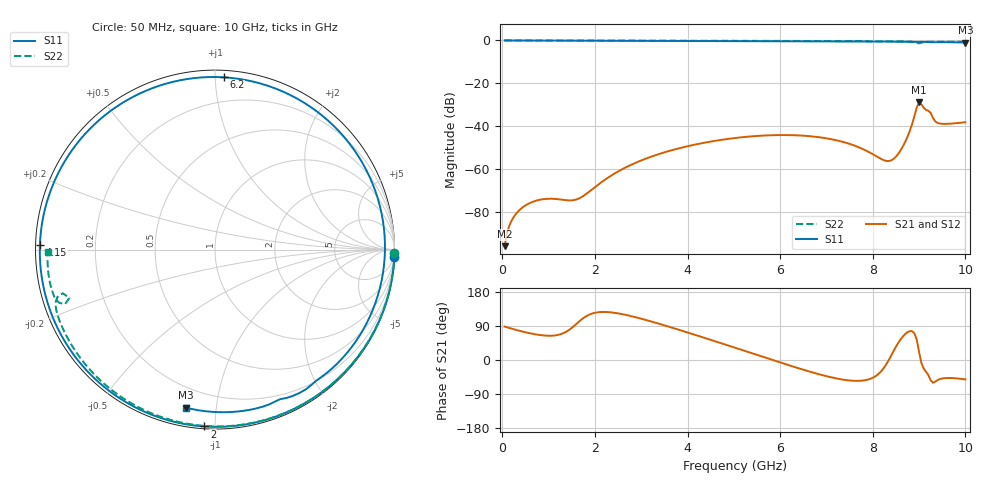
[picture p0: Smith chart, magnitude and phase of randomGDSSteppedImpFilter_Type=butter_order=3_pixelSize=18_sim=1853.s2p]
! freq	dB(S11)	phase(S11)	dB(S12)	phase(S12)
!  dB(S21)	phase(S21)	dB(S22)	phase(S22)
!S-par simulation data
#  GHz  S  DB  R 50
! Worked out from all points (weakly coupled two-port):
!   200 points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, 50 MHz to 10 GHz, reference 50 ohm
!   highest |S21| = -28.95 dB at 9 GHz (marker M1); lowest = -96.1 dB at 50 MHz (marker M2)
!   lowest |S11| = -1.0 dB at 10 GHz (marker M3), VSWR 18.20, Z = 4.65 - j41.5 ohm
!   |S11| at or under -10 dB: nowhere
!   |S22| runs from -1.4 to 0.0 dB; largest |S21 - S12| = 0
!   S11 on the Smith chart (normalised r, x): 50 MHz: 0, -46; 2 GHz: 0.01, -0.94; 4.15 GHz: 0.01, +0.01; 6.2 GHz: 0.04, +1.05; 10 GHz: 0.09, -0.83
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0.05  -0.00 -2.5  -96.14 88.2  -96.14 88.2  -0.00 -1.0
0.35  -0.01 -17.2  -79.72 77.7  -79.72 77.7  -0.01 -7.2
0.6  -0.03 -29.4  -75.93 70.5  -75.93 70.5  -0.01 -12.3
0.95  -0.06 -46.1  -74.04 64.2  -74.04 64.2  -0.02 -19.4
1.5  -0.09 -71.4  -74.72 84.7  -74.72 84.7  -0.04 -30.3
1.75  -0.10 -82.5  -72.68 110.5  -72.68 110.5  -0.04 -35.3
2  -0.11 -93.4  -68.56 124.6  -68.56 124.6  -0.05 -40.2
2.65  -0.14 -120.8  -59.50 119.5  -59.50 119.5  -0.07 -52.7
3.4  -0.17 -151.2  -52.97 95.1  -52.97 95.1  -0.09 -66.8
4.15  -0.21 178.6  -48.72 66.9  -48.72 66.9  -0.11 -80.4
5.05  -0.27 140.7  -45.54 31.4  -45.54 31.4  -0.15 -96.1
5.65  -0.31 113.5  -44.44 7.4  -44.44 7.4  -0.18 -106.3
6.2  -0.34 87.0  -44.23 -14.3  -44.23 -14.3  -0.21 -115.5
6.7  -0.38 61.7  -44.86 -32.8  -44.86 -32.8  -0.24 -123.8
7.55  -0.44 17.5  -48.70 -54.6  -48.70 -54.6  -0.31 -137.9
8.35  -0.54 -23.4  -56.33 0.9  -56.33 0.9  -0.39 -151.5
8.5  -0.56 -30.8  -54.34 35.0  -54.34 35.0  -0.41 -154.2
8.65  -0.59 -38.2  -49.53 62.1  -49.53 62.1  -0.44 -157.1
8.8  -0.64 -45.4  -42.25 76.2  -42.25 76.2  -0.52 -160.4
9  -0.67 -54.4  -28.95 21.2  -28.95 21.2  -1.37 -161.6
9.4  -0.77 -72.9  -38.55 -53.0  -38.55 -53.0  -0.56 -167.8
10  -0.96 -100.3  -38.21 -51.2  -38.21 -51.2  -0.60 -179.2
